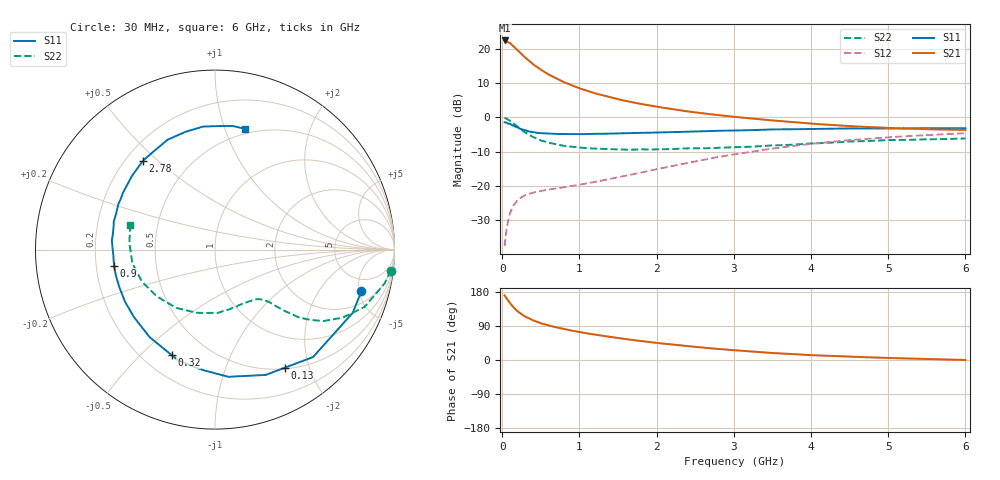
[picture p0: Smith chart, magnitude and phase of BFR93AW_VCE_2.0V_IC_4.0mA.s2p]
! Infineon Technologies  Discrete & RF Semiconductors
! BFR93AW
! VCE =  2.0 V,  IC =  4.0 mA
! Common Emitter S-Parameters:  Nov 2015
# GHz  S  MA  R  50
!  f  S11  S21  S12  S22
! GHz  MAG  ANG  MAG  ANG  MAG  ANG  MAG  ANG
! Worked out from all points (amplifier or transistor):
!   206 points, 30 MHz to 6 GHz, reference 50 ohm
!   highest |S21| = 22.4 dB at 30 MHz (marker M1)
!   |S21| within 3 dB of that: start of sweep to 205.3 MHz
!   unconditionally stable (mu >= 1): 989.9 MHz to 2.47 GHz
!   at 200 MHz: K = 0.26, MSG = 21.8 dB, |S12| = -24.1 dB
!   at 1.56 GHz: K = 1.12, MAG = 9.0 dB, |S12| = -17.2 dB
!   at 6 GHz: K = 0.97, MSG = 0.5 dB, |S12| = -4.6 dB
!   S11 on the Smith chart (normalised r, x): 30 MHz: 3.22, -5.29; 130 MHz: 0.51, -1.63; 320 MHz: 0.32, -0.62; 900 MHz: 0.28, -0.07; 2.78 GHz: 0.27, +0.45; 6 GHz: 0.45, +1.17
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0.03  0.8479 -15.8  13.23 170.5  0.0132 79.9  0.9859 -6.8
0.05  0.8445 -24.6  13.02 164.0  0.0212 76.6  0.9638 -11.3
0.1  0.8105 -47.6  12.12 149.7  0.04 65.9  0.8923 -21.0
0.13  0.7641 -59.5  11.24 142.8  0.0476 60.1  0.8385 -25.1
0.15  0.7531 -68.0  10.75 137.6  0.0528 57.2  0.8053 -28.1
0.175  0.7257 -75.8  10.09 133.1  0.0575 54.2  0.7642 -30.6
0.2  0.7126 -84.0  9.494 128.1  0.0624 51.6  0.7247 -33.3
0.24  0.6763 -94.9  8.558 122.0  0.0672 47.7  0.6676 -36.0
0.3  0.6472 -109.1  7.395 114.1  0.0737 44.1  0.5988 -39.0
0.32  0.6349 -112.4  7.089 112.5  0.0749 43.4  0.5821 -39.4
0.4  0.6089 -126.7  5.936 104.4  0.0799 40.7  0.5155 -41.4
0.5  0.5876 -140.2  4.948 96.9  0.0844 40.0  0.4607 -42.9
0.7  0.573 -158.2  3.681 86.1  0.0917 41.4  0.403 -45.1
0.9  0.5698 -170.9  2.923 77.5  0.0998 44.9  0.3726 -47.8
1.04  0.5681 -178.1  2.563 72.4  0.1061 47.3  0.3591 -50.6
1.5  0.5853 164.4  1.835 58.0  0.133 55.3  0.3418 -61.4
2.02  0.6027 148.1  1.417 44.6  0.1769 60.2  0.3423 -76.6
2.78  0.6364 129.2  1.085 29.5  0.2613 59.9  0.3583 -99.9
3.1  0.6452 121.9  0.993 24.5  0.2988 57.7  0.3685 -109.9
4.1  0.678 102.1  0.795 12.0  0.4209 47.0  0.4194 -144.4
5.1  0.6895 87.1  0.695 4.8  0.5195 33.8  0.4668 -173.4
6  0.6933 76.2  0.656 0.0  0.587 22.6  0.4919 163.8
